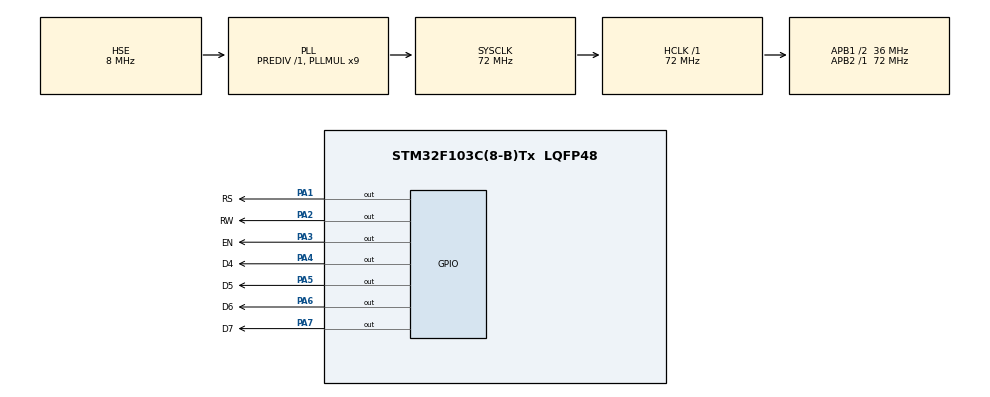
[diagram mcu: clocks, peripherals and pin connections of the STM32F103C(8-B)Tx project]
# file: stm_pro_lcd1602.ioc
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Mcu.Family=STM32F1
Mcu.Name=STM32F103C(8-B)Tx
Mcu.Package=LQFP48
NVIC.PriorityGroup=NVIC_PRIORITYGROUP_4
PA0-WKUP.Mode=SYS_WakeUp0
PA0-WKUP.Signal=SYS_WKUP
PA1.GPIO_Label=RS
PA1.Signal=GPIO_Output
PA13.Mode=Serial_Wire
PA13.Signal=SYS_JTMS-SWDIO
PA14.Mode=Serial_Wire
PA14.Signal=SYS_JTCK-SWCLK
PA2.GPIO_Label=RW
PA2.Signal=GPIO_Output
PA3.GPIO_Label=EN
PA3.Signal=GPIO_Output
PA4.GPIO_Label=D4
PA4.Signal=GPIO_Output
PA5.GPIO_Label=D5
PA5.Signal=GPIO_Output
PA6.GPIO_Label=D6
PA6.Signal=GPIO_Output
PA7.GPIO_Label=D7
PA7.Signal=GPIO_Output
PD0-OSC_IN.Mode=HSE-External-Oscillator
PD0-OSC_IN.Signal=RCC_OSC_IN
PD1-OSC_OUT.Mode=HSE-External-Oscillator
PD1-OSC_OUT.Signal=RCC_OSC_OUT
ProjectManager.HeapSize=0x200
ProjectManager.StackSize=0x400
ProjectManager.TargetToolchain=STM32CubeIDE
RCC.AHBFreq_Value=72000000
RCC.APB1CLKDivider=RCC_HCLK_DIV2
RCC.APB1Freq_Value=36000000
RCC.APB1TimFreq_Value=72000000
RCC.APB2Freq_Value=72000000
RCC.APB2TimFreq_Value=72000000
RCC.HCLKFreq_Value=72000000
RCC.PLLMUL=RCC_PLL_MUL9
RCC.PLLSourceVirtual=RCC_PLLSOURCE_HSE
RCC.SYSCLKFreq_VALUE=72000000
RCC.SYSCLKSource=RCC_SYSCLKSOURCE_PLLCLK
RCC.USBFreq_Value=72000000
TIM1.Period=0xffff-1
TIM1.Prescaler=72-1
VP_TIM1_VS_ClockSourceINT.Mode=Internal
board=custom

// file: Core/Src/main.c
/* USER CODE BEGIN Header */
/**
  ******************************************************************************
  * @file           : main.c
  * @brief          : Main program body
  ******************************************************************************
  * @attention
  *
  * Copyright (c) 2024 STMicroelectronics.
  * All rights reserved.
  *
  * This software is licensed under terms that can be found in the LICENSE file
  * in the root directory of this software component.
  * If no LICENSE file comes with this software, it is provided AS-IS.
  *
  ******************************************************************************
  */
/* USER CODE END Header */
#include "main.h"

/* USER CODE BEGIN Includes */
#include "LCD1602.h"
/* USER CODE END Includes */

TIM_HandleTypeDef htim1;

void SystemClock_Config(void);
static void MX_GPIO_Init(void);
static void MX_TIM1_Init(void);
/* USER CODE BEGIN 0 */
int row = 0;
int col = 0;
/* USER CODE END 0 */

int main(void)
{

  /* MCU Configuration--------------------------------------------------------*/

  /* Reset of all peripherals, Initializes the Flash interface and the Systick. */
  HAL_Init();

  /* Configure the system clock */
  SystemClock_Config();

  /* Initialize all configured peripherals */
  MX_GPIO_Init();
  MX_TIM1_Init();
  /* USER CODE BEGIN 2 */
  HAL_TIM_Base_Start(&htim1);

  lcd_init ();
  lcd_put_cur(0, 0);
  lcd_send_string("HELLO ");
  lcd_send_string("WORLD ");

  lcd_put_cur(1, 0);
  lcd_send_string("TH'IS ");
  lcd_send_string("AELIUS");
  HAL_Delay(3000);
  lcd_clear();
  /* USER CODE END 2 */

  /* Infinite loop */
  while (1)
  {

    /* USER CODE BEGIN 3 */
	  for (int i=0;i<128;i++)
	  {
		  lcd_put_cur(row, col);
		  lcd_send_data(i+48);
		  col++;

		  if (col > 15) {row++; col = 0;}
		  if (row > 1) row=0;

		  HAL_Delay(100);
	  }
  }
  /* USER CODE END 3 */
}

void SystemClock_Config(void)
{
  RCC_OscInitTypeDef RCC_OscInitStruct = {0};
  RCC_ClkInitTypeDef RCC_ClkInitStruct = {0};

  /** Initializes the RCC Oscillators according to the specified parameters
  * in the RCC_OscInitTypeDef structure.
  */
  RCC_OscInitStruct.OscillatorType = RCC_OSCILLATORTYPE_HSE;
  RCC_OscInitStruct.HSEState = RCC_HSE_ON;
  RCC_OscInitStruct.HSEPredivValue = RCC_HSE_PREDIV_DIV1;
  RCC_OscInitStruct.HSIState = RCC_HSI_ON;
  RCC_OscInitStruct.PLL.PLLState = RCC_PLL_ON;
  RCC_OscInitStruct.PLL.PLLSource = RCC_PLLSOURCE_HSE;
  RCC_OscInitStruct.PLL.PLLMUL = RCC_PLL_MUL9;
  if (HAL_RCC_OscConfig(&RCC_OscInitStruct) != HAL_OK)
  {
    Error_Handler();
  }

  /** Initializes the CPU, AHB and APB buses clocks
  */
  RCC_ClkInitStruct.ClockType = RCC_CLOCKTYPE_HCLK|RCC_CLOCKTYPE_SYSCLK
                              |RCC_CLOCKTYPE_PCLK1|RCC_CLOCKTYPE_PCLK2;
  RCC_ClkInitStruct.SYSCLKSource = RCC_SYSCLKSOURCE_PLLCLK;
  RCC_ClkInitStruct.AHBCLKDivider = RCC_SYSCLK_DIV1;
  RCC_ClkInitStruct.APB1CLKDivider = RCC_HCLK_DIV2;
  RCC_ClkInitStruct.APB2CLKDivider = RCC_HCLK_DIV1;

  if (HAL_RCC_ClockConfig(&RCC_ClkInitStruct, FLASH_LATENCY_2) != HAL_OK)
  {
    Error_Handler();
  }
}

static void MX_TIM1_Init(void)
{

  TIM_ClockConfigTypeDef sClockSourceConfig = {0};
  TIM_MasterConfigTypeDef sMasterConfig = {0};

  htim1.Instance = TIM1;
  htim1.Init.Prescaler = 72-1;
  htim1.Init.CounterMode = TIM_COUNTERMODE_UP;
  htim1.Init.Period = 0xffff-1;
  htim1.Init.ClockDivision = TIM_CLOCKDIVISION_DIV1;
  htim1.Init.RepetitionCounter = 0;
  htim1.Init.AutoReloadPreload = TIM_AUTORELOAD_PRELOAD_DISABLE;
  if (HAL_TIM_Base_Init(&htim1) != HAL_OK)
  {
    Error_Handler();
  }
  sClockSourceConfig.ClockSource = TIM_CLOCKSOURCE_INTERNAL;
  if (HAL_TIM_ConfigClockSource(&htim1, &sClockSourceConfig) != HAL_OK)
  {
    Error_Handler();
  }
  sMasterConfig.MasterOutputTrigger = TIM_TRGO_RESET;
  sMasterConfig.MasterSlaveMode = TIM_MASTERSLAVEMODE_DISABLE;
  if (HAL_TIMEx_MasterConfigSynchronization(&htim1, &sMasterConfig) != HAL_OK)
  {
    Error_Handler();
  }

}

static void MX_GPIO_Init(void)
{
  GPIO_InitTypeDef GPIO_InitStruct = {0};

  /* GPIO Ports Clock Enable */
  __HAL_RCC_GPIOD_CLK_ENABLE();
  __HAL_RCC_GPIOA_CLK_ENABLE();

  /*Configure GPIO pin Output Level */
  HAL_GPIO_WritePin(GPIOA, RS_Pin|RW_Pin|EN_Pin|D4_Pin
                          |D5_Pin|D6_Pin|D7_Pin, GPIO_PIN_RESET);

  /*Configure GPIO pins : RS_Pin RW_Pin EN_Pin D4_Pin
                           D5_Pin D6_Pin D7_Pin */
  GPIO_InitStruct.Pin = RS_Pin|RW_Pin|EN_Pin|D4_Pin
                          |D5_Pin|D6_Pin|D7_Pin;
  GPIO_InitStruct.Mode = GPIO_MODE_OUTPUT_PP;
  GPIO_InitStruct.Pull = GPIO_NOPULL;
  GPIO_InitStruct.Speed = GPIO_SPEED_FREQ_LOW;
  HAL_GPIO_Init(GPIOA, &GPIO_InitStruct);

}

void Error_Handler(void)
{
  __disable_irq();
  while (1)
  {
  }
}
